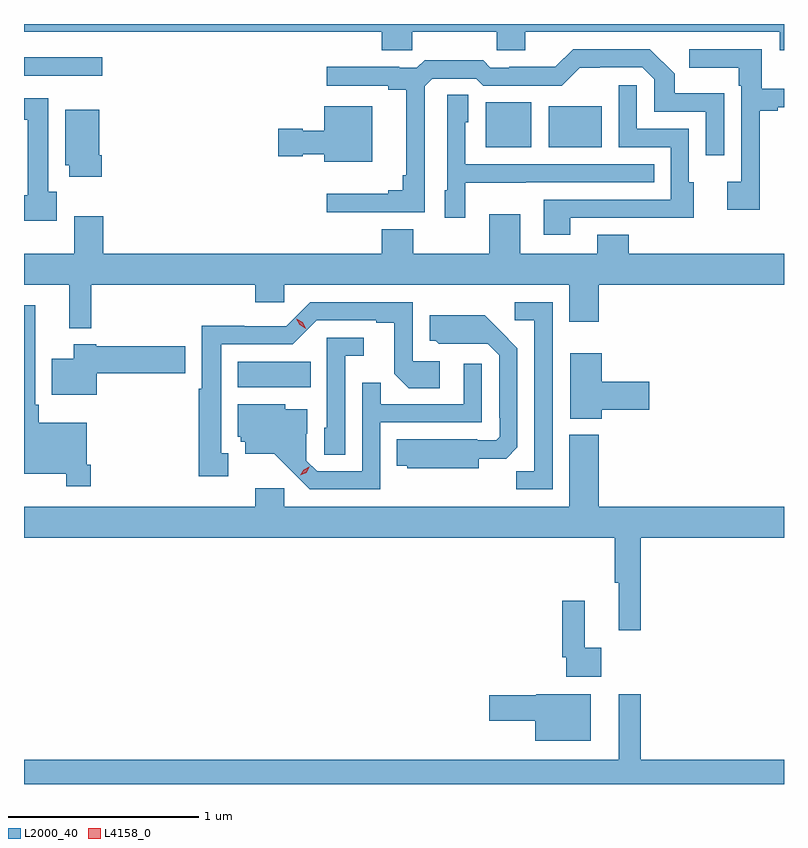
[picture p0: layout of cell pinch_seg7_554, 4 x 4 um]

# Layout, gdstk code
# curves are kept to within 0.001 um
import gdstk
lib = gdstk.Library(unit=1e-6, precision=1e-09)
def R(c, l, rs):  # rectangles x0, y0, x1, y1
    for r in rs: c.add(gdstk.rectangle(r[:2], r[2:], *l))
def P(c, l, *ps):  # polygons
    for p in ps: c.add(gdstk.Polygon(p, *l))
L2000_40 = (2000, 40)
L4158_0 = (4158, 0)

pinch_seg7_554 = lib.new_cell('pinch_seg7_554')
R(pinch_seg7_554, L2000_40, [(155.354,1042.7,155.738,1042.834), (156.659,1043.963,156.898,1044.199), (156.992,1043.963,157.27,1044.178), (154.229,1044.339,154.642,1044.436)])
P(pinch_seg7_554, L2000_40, [(158.229,1044.612),(154.229,1044.612),(154.229,1044.572),(156.113,1044.572),(156.113,1044.474),(156.273,1044.474),(156.273,1044.572),(156.718,1044.572),(156.718,1044.474),(156.868,1044.474),(156.868,1044.572),(158.207,1044.572),(158.207,1044.473),(158.229,1044.473)],
  [(156.339,1044.285),(156.378,1044.324),(156.609,1044.324),(156.645,1044.288),(157.059,1044.288),(157.154,1044.383),(157.482,1044.384),(157.545,1044.321),(157.545,1044.15),(157.818,1044.15),(157.818,1043.922),(157.914,1043.922),(157.914,1044.247),(157.653,1044.247),(157.653,1044.35),(157.522,1044.48),(157.119,1044.48),(157.025,1044.386),(156.784,1044.386),(156.784,1044.381),(156.684,1044.381),(156.645,1044.421),(156.337,1044.421),(156.297,1044.381),(156.203,1044.381),(156.203,1044.386),(155.823,1044.386),(155.823,1044.288),(156.146,1044.288),(156.146,1044.266),(156.242,1044.266),(156.242,1043.815),(156.223,1043.815),(156.223,1043.738),(156.146,1043.738),(156.146,1043.719),(155.823,1043.719),(155.823,1043.622),(156.339,1043.622)],
  [(158.101,1044.156),(158.197,1044.156),(158.197,1044.174),(158.229,1044.174),(158.229,1044.272),(158.113,1044.272),(158.113,1044.48),(157.731,1044.48),(157.731,1044.383),(157.992,1044.383),(157.992,1044.287),(158.004,1044.287),(158.004,1043.782),(157.929,1043.782),(157.929,1043.634),(158.101,1043.634)],
  [(157.105,1043.592),(157.535,1043.592),(157.535,1043.591),(157.753,1043.591),(157.753,1043.778),(157.728,1043.778),(157.728,1044.06),(157.455,1044.06),(157.455,1044.289),(157.359,1044.289),(157.359,1043.964),(157.632,1043.964),(157.632,1043.688),(156.965,1043.688),(156.965,1043.502),(157.105,1043.502)],
  [(156.552,1043.777),(156.869,1043.777),(156.869,1043.778),(157.547,1043.778),(157.547,1043.874),(156.552,1043.874),(156.552,1044.096),(156.568,1044.096),(156.568,1044.239),(156.456,1044.239),(156.456,1043.736),(156.443,1043.736),(156.443,1043.592),(156.552,1043.592)],
  [(154.402,1043.73),(154.357,1043.73),(154.357,1044.22),(154.229,1044.22),(154.229,1044.107),(154.25,1044.107),(154.25,1043.71),(154.229,1043.71),(154.229,1043.576),(154.402,1043.576)],
  [(156.061,1044.178),(155.81,1044.178),(155.81,1044.049),(155.697,1044.049),(155.697,1044.062),(155.568,1044.062),(155.568,1043.915),(155.697,1043.915),(155.697,1043.927),(155.81,1043.927),(155.81,1043.888),(156.061,1043.888)],
  [(154.637,1043.92),(154.624,1043.92),(154.624,1044.16),(154.445,1044.16),(154.445,1043.868),(154.466,1043.868),(154.466,1043.808),(154.637,1043.808)],
  [(154.583,1043.24),(155.447,1043.24),(155.447,1043.147),(155.598,1043.147),(155.598,1043.24),(157.1,1043.24),(157.1,1043.046),(157.253,1043.046),(157.253,1043.24),(158.229,1043.24),(158.229,1043.404),(157.411,1043.404),(157.411,1043.503),(157.247,1043.503),(157.247,1043.404),(156.841,1043.404),(156.841,1043.611),(156.677,1043.611),(156.677,1043.404),(156.277,1043.404),(156.277,1043.533),(156.113,1043.533),(156.113,1043.404),(154.646,1043.404),(154.646,1043.599),(154.493,1043.599),(154.493,1043.404),(154.229,1043.404),(154.229,1043.24),(154.466,1043.24),(154.466,1043.012),(154.583,1043.012)],
  [(157.011,1043.148),(156.813,1043.148),(156.813,1043.052),(156.915,1043.052),(156.915,1042.259),(156.82,1042.259),(156.82,1042.164),(157.011,1042.164)],
  [(155.305,1042.353),(155.266,1042.353),(155.266,1042.926),(155.643,1042.926),(155.769,1043.052),(156.083,1043.052),(156.083,1043.04),(156.177,1043.04),(156.177,1042.772),(156.253,1042.696),(156.418,1042.696),(156.418,1042.836),(156.276,1042.836),(156.276,1043.148),(155.736,1043.148),(155.61,1043.022),(155.388,1043.022),(155.388,1043.024),(155.165,1043.024),(155.165,1042.691),(155.148,1042.691),(155.148,1042.233),(155.305,1042.233)],
  [(154.58,1042.291),(154.56,1042.291),(154.56,1042.513),(154.307,1042.513),(154.307,1042.609),(154.287,1042.609),(154.287,1043.131),(154.229,1043.131),(154.229,1042.244),(154.452,1042.244),(154.452,1042.179),(154.58,1042.179)],
  [(156.622,1042.325),(156.766,1042.325),(156.825,1042.384),(156.825,1042.906),(156.653,1043.08),(156.365,1043.08),(156.365,1042.944),(156.396,1042.944),(156.412,1042.928),(156.669,1042.929),(156.729,1042.869),(156.729,1042.54),(156.732,1042.54),(156.732,1042.44),(156.714,1042.422),(156.614,1042.422),(156.614,1042.426),(156.19,1042.426),(156.19,1042.286),(156.246,1042.286),(156.246,1042.274),(156.622,1042.274)],
  [(155.919,1042.865),(156.016,1042.865),(156.016,1042.962),(155.823,1042.962),(155.823,1042.488),(155.808,1042.488),(155.808,1042.345),(155.919,1042.345)],
  [(154.612,1042.775),(155.077,1042.775),(155.077,1042.917),(154.608,1042.917),(154.608,1042.927),(154.49,1042.927),(154.49,1042.849),(154.376,1042.849),(154.376,1042.661),(154.612,1042.661)],
  [(157.27,1042.583),(157.519,1042.583),(157.519,1042.73),(157.27,1042.73),(157.27,1042.879),(157.103,1042.879),(157.103,1042.535),(157.27,1042.535)],
  [(156.105,1042.515),(156.639,1042.515),(156.639,1042.825),(156.543,1042.825),(156.543,1042.611),(156.107,1042.611),(156.107,1042.724),(156.009,1042.724),(156.009,1042.257),(155.772,1042.257),(155.715,1042.314),(155.715,1042.456),(155.719,1042.456),(155.719,1042.585),(155.604,1042.585),(155.604,1042.612),(155.354,1042.612),(155.354,1042.44),(155.37,1042.44),(155.37,1042.413),(155.393,1042.413),(155.393,1042.349),(155.545,1042.349),(155.732,1042.164),(156.105,1042.164)],
  [(157.1,1042.45),(157.1,1042.072),(155.598,1042.072),(155.598,1042.168),(155.447,1042.168),(155.447,1042.072),(154.229,1042.072),(154.229,1041.908),(157.339,1041.908),(157.339,1041.672),(157.358,1041.672),(157.358,1041.42),(157.475,1041.42),(157.475,1041.908),(158.229,1041.908),(158.229,1042.072),(157.253,1042.072),(157.253,1042.45)],
  [(157.267,1041.329),(157.181,1041.329),(157.181,1041.577),(157.063,1041.577),(157.063,1041.28),(157.083,1041.28),(157.083,1041.176),(157.267,1041.176)],
  [(157.213,1041.085),(156.924,1041.085),(156.924,1041.08),(156.678,1041.08),(156.678,1040.945),(156.92,1040.945),(156.92,1040.84),(157.213,1040.84)],
  [(158.229,1040.74),(157.475,1040.74),(157.475,1041.085),(157.358,1041.085),(157.358,1040.74),(154.229,1040.74),(154.229,1040.612),(158.229,1040.612)])
P(pinch_seg7_554, L4158_0, [(155.684,1042.236),(155.684,1042.236),(155.701,1042.266),(155.731,1042.281),(155.731,1042.281),(155.731,1042.28),(155.714,1042.251),(155.684,1042.236)],
  [(155.711,1043.008),(155.68,1043.028),(155.663,1043.06),(155.663,1043.061),(155.663,1043.061),(155.695,1043.041),(155.712,1043.009),(155.712,1043.008)])

lib.write_gds('pinch_seg7_554.gds')
